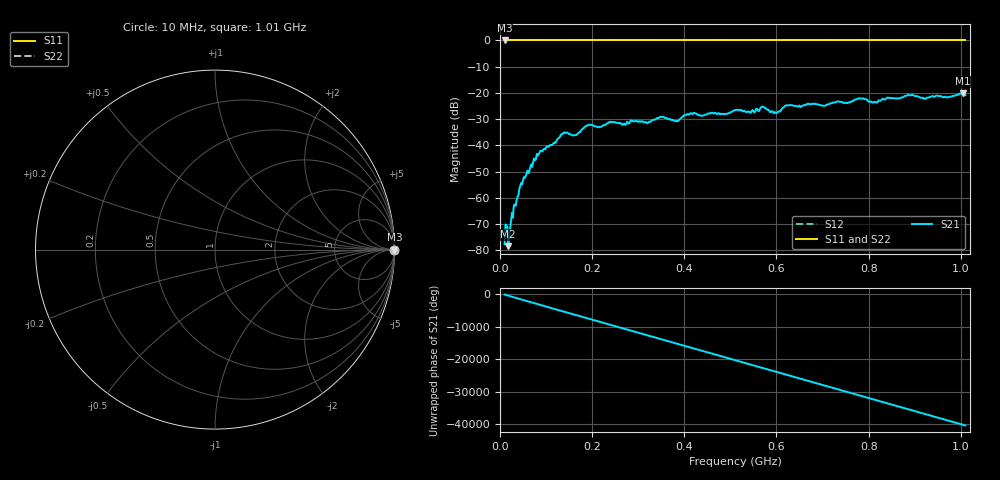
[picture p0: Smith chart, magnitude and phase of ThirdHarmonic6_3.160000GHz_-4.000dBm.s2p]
! 8/17/2025 9:29:04 AM
! C:\ANRITSUVNA\TEMP\TEMP.S2P
! CHANNEL.1
! TR.MEASUREMENT
! RAW.DATA
! RF.CORRECTION.OFF
! AVERAGING.OFF
! IF.BANDWIDTH: 5KHZ
! SWEEPTYPE:  FREQ.SWEEP(Linear)
! Reference Plane Port Info
! PORT:  PORT1  PORT2
! DISTANCE:  0  m  0  m
! TIME:  0  s  0  s
! PHASE.OFFSET:  0  deg.  0  deg.
! LOSS:  0  dB  0  dB
! REF.LOSS:  0  dB  0  dB
! REF.FREQ:  0  Hz  0  Hz
! Power Info
! POWER:  -20  dBm  -20  dBm
! EFF.POWER:  -20  dBm  -20  dBm
! SOURCE.ATTEN:  0  dB  0  dB
! TEST.ATTEN:  0  dB  0  dB
# GHZ S RI R 50.0
! FREQ.GHZ  S11RE  S11IM  S21RE  S21IM  S12RE  S12IM  S22RE  S22IM
!; PortSelection: Port_12
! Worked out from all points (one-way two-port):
!   501 points, 10 MHz to 1.01 GHz, reference 50 ohm
!   highest |S21| = -20.21 dB at 1.004 GHz (marker M1); lowest = -78.4 dB at 18 MHz (marker M2)
!   lowest |S11| = 0.0 dB at 10 MHz (marker M3)
!   |S11| at or under -10 dB: nowhere
!   |S22| runs from 0.0 to 0.0 dB; largest |S21 - S12| = 1.1
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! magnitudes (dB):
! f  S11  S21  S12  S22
! 10 MHz  0.0  -77.6  0.0  0.0
! 18 MHz  0.0  -78.4  0.0  0.0
! 28 MHz  0.0  -67.5  0.0  0.0
! 46 MHz  0.0  -54.4  0.0  0.0
! 84 MHz  0.0  -43.4  0.0  0.0
! 136 MHz  0.0  -35.6  0.0  0.0
! 162 MHz  0.0  -36.1  0.0  0.0
! 178 MHz  0.0  -33.9  0.0  0.0
! 194 MHz  0.0  -32.1  0.0  0.0
! 322 MHz  0.0  -31.3  0.0  0.0
! 344 MHz  0.0  -29.6  0.0  0.0
! 384 MHz  0.0  -30.6  0.0  0.0
! 418 MHz  0.0  -28.0  0.0  0.0
! 510 MHz  0.0  -26.5  0.0  0.0
! 540 MHz  0.0  -27.1  0.0  0.0
! 570 MHz  0.0  -25.2  0.0  0.0
! 598 MHz  0.0  -27.5  0.0  0.0
! 622 MHz  0.0  -24.8  0.0  0.0
! 678 MHz  0.0  -24.1  0.0  0.0
! 844 MHz  0.0  -21.9  0.0  0.0
! 1.004 GHz  0.0  -20.2  0.0  0.0
! 1.01 GHz  0.0  -20.9  0.0  0.0
